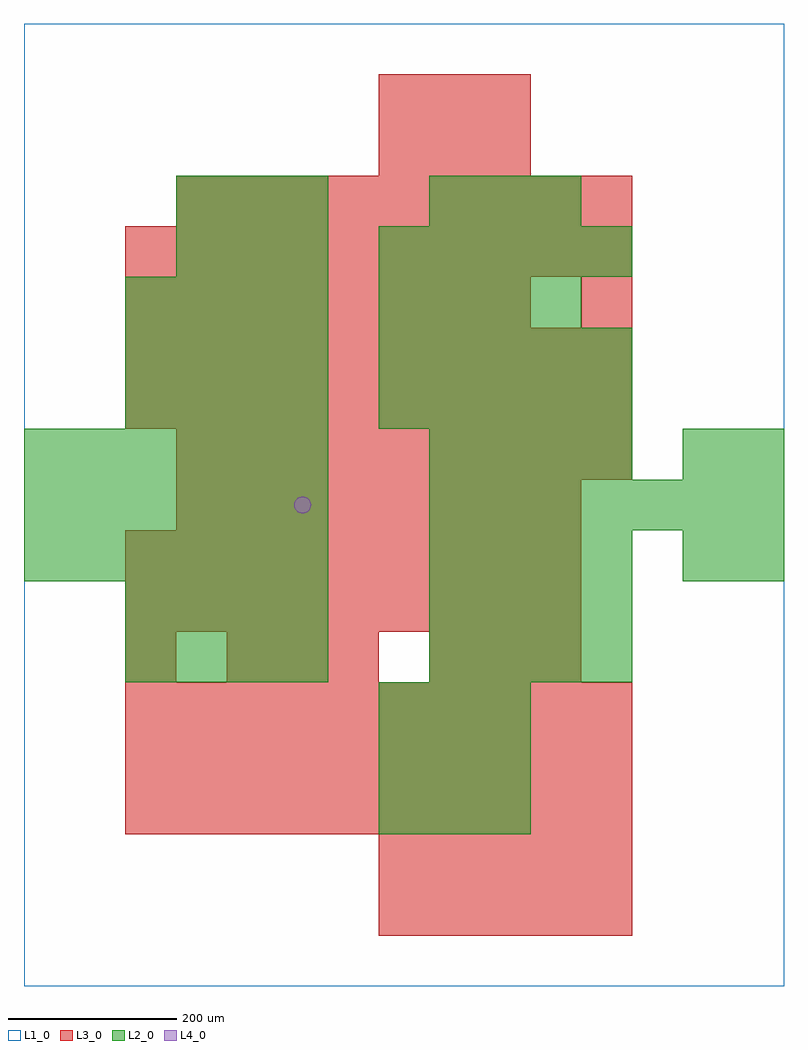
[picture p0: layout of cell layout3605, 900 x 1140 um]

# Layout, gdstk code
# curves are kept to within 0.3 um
import gdstk
lib = gdstk.Library(unit=1e-6, precision=1e-09)
def R(c, l, rs):  # rectangles x0, y0, x1, y1
    for r in rs: c.add(gdstk.rectangle(r[:2], r[2:], *l))
def A(c, l, x, y, w, h, nx, ny, dx, dy):  # array of equal rectangles
    R(c, l, [(x+i*dx, y+j*dy, x+i*dx+w, y+j*dy+h) for i in range(nx) for j in range(ny)])
def P(c, l, *ps):  # polygons
    for p in ps: c.add(gdstk.Polygon(p, *l))
L1_0 = (1, 0)
L2_0 = (2, 0)
L3_0 = (3, 0)
L4_0 = (4, 0)

layout3605 = lib.new_cell('layout3605')
R(layout3605, L1_0, [(0,0,900,1140)])
A(layout3605, L2_0, 420, 180, 60, 60, 3, 3, 60, 60)
A(layout3605, L2_0, 120, 360, 60, 60, 4, 2, 60, 60)
A(layout3605, L2_0, 480, 360, 60, 60, 4, 3, 60, 60)
A(layout3605, L2_0, 0, 480, 60, 60, 6, 3, 60, 60)
A(layout3605, L2_0, 480, 540, 60, 60, 7, 1, 60, 0)
A(layout3605, L2_0, 480, 600, 60, 60, 4, 1, 60, 0)
A(layout3605, L2_0, 120, 660, 60, 60, 4, 3, 60, 60)
A(layout3605, L2_0, 420, 660, 60, 60, 5, 2, 60, 60)
A(layout3605, L2_0, 420, 780, 60, 60, 4, 1, 60, 0)
A(layout3605, L2_0, 180, 840, 60, 60, 3, 2, 60, 60)
A(layout3605, L2_0, 420, 840, 60, 60, 5, 1, 60, 0)
A(layout3605, L2_0, 480, 900, 60, 60, 3, 1, 60, 0)
R(layout3605, L2_0, [(780,480,840,540), (840,480,900,540), (780,600,840,660), (840,600,900,660)])
A(layout3605, L3_0, 420, 60, 60, 60, 5, 2, 60, 60)
A(layout3605, L3_0, 120, 180, 60, 60, 10, 3, 60, 60)
A(layout3605, L3_0, 240, 360, 60, 60, 3, 1, 60, 0)
A(layout3605, L3_0, 480, 360, 60, 60, 3, 1, 60, 0)
A(layout3605, L3_0, 120, 420, 60, 60, 9, 2, 60, 60)
A(layout3605, L3_0, 180, 540, 60, 60, 8, 1, 60, 0)
A(layout3605, L3_0, 180, 600, 60, 60, 9, 2, 60, 300)
A(layout3605, L3_0, 120, 660, 60, 60, 10, 2, 60, 60)
A(layout3605, L3_0, 120, 780, 60, 60, 8, 1, 60, 0)
A(layout3605, L3_0, 120, 840, 60, 60, 10, 1, 60, 0)
A(layout3605, L3_0, 420, 960, 60, 60, 3, 2, 60, 60)
R(layout3605, L3_0, [(120,360,180,420), (660,780,720,840)])
P(layout3605, L4_0, [(340,570),(339.239,573.827),(337.071,577.071),(333.827,579.239),(330,580),(326.173,579.239),(322.929,577.071),(320.761,573.827),(320,570),(320.761,566.173),(322.929,562.929),(326.173,560.761),(330,560),(333.827,560.761),(337.071,562.929),(339.239,566.173)])

lib.write_gds('layout3605.gds')
